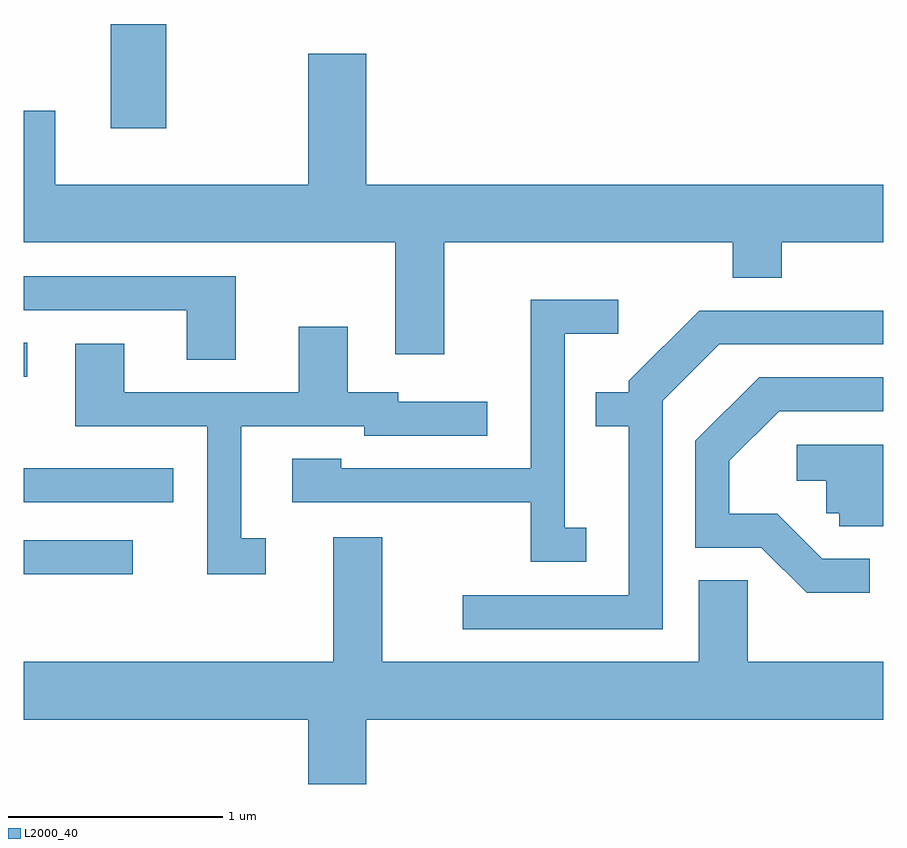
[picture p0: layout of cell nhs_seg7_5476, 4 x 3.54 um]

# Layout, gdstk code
import gdstk
lib = gdstk.Library(unit=1e-6, precision=1e-09)
def R(c, l, rs):  # rectangles x0, y0, x1, y1
    for r in rs: c.add(gdstk.rectangle(r[:2], r[2:], *l))
def P(c, l, *ps):  # polygons
    for p in ps: c.add(gdstk.Polygon(p, *l))
L2000_40 = (2000, 40)

nhs_seg7_5476 = lib.new_cell('nhs_seg7_5476')
R(nhs_seg7_5476, L2000_40, [(353.611,1681.691,354.118,1681.849), (353.611,1682.026,354.308,1682.184), (353.611,1682.611,353.628,1682.769), (354.016,1683.766,354.274,1684.252)])
P(nhs_seg7_5476, L2000_40, [(355.569,1683.236),(356.911,1683.236),(356.911,1683.071),(357.139,1683.071),(357.139,1683.236),(357.611,1683.236),(357.611,1683.504),(355.204,1683.504),(355.204,1684.114),(354.936,1684.114),(354.936,1683.504),(353.759,1683.504),(353.759,1683.849),(353.611,1683.849),(353.611,1683.236),(355.341,1683.236),(355.341,1682.716),(355.569,1682.716)],
  [(354.599,1683.079),(353.611,1683.079),(353.611,1682.921),(354.371,1682.921),(354.371,1682.691),(354.599,1682.691)],
  [(356.228,1681.909),(356.129,1681.909),(356.129,1682.811),(356.378,1682.811),(356.378,1682.969),(355.971,1682.969),(355.971,1682.184),(355.089,1682.184),(355.089,1682.229),(354.861,1682.229),(354.861,1682.026),(355.971,1682.026),(355.971,1681.751),(356.228,1681.751)],
  [(356.584,1682.499),(356.847,1682.761),(357.611,1682.761),(357.611,1682.919),(356.754,1682.919),(356.426,1682.592),(356.426,1682.539),(356.273,1682.539),(356.273,1682.381),(356.426,1682.381),(356.426,1681.594),(355.653,1681.594),(355.653,1681.436),(356.584,1681.436)],
  [(354.738,1681.859),(354.624,1681.859),(354.624,1682.381),(355.196,1682.381),(355.196,1682.336),(355.768,1682.336),(355.768,1682.494),(355.354,1682.494),(355.354,1682.539),(355.119,1682.539),(355.119,1682.844),(354.891,1682.844),(354.891,1682.539),(354.079,1682.539),(354.079,1682.764),(353.851,1682.764),(353.851,1682.381),(354.466,1682.381),(354.466,1681.691),(354.738,1681.691)],
  [(357.548,1681.764),(357.327,1681.764),(357.117,1681.974),(356.894,1681.974),(356.894,1682.219),(357.127,1682.451),(357.611,1682.451),(357.611,1682.609),(357.034,1682.609),(356.736,1682.312),(356.736,1681.816),(357.044,1681.816),(357.254,1681.606),(357.548,1681.606)],
  [(357.611,1682.294),(357.208,1682.294),(357.208,1682.126),(357.346,1682.126),(357.346,1681.976),(357.406,1681.976),(357.406,1681.916),(357.611,1681.916)],
  [(355.204,1681.016),(357.611,1681.016),(357.611,1681.284),(356.979,1681.284),(356.979,1681.664),(356.751,1681.664),(356.751,1681.284),(355.279,1681.284),(355.279,1681.864),(355.051,1681.864),(355.051,1681.284),(353.611,1681.284),(353.611,1681.016),(354.936,1681.016),(354.936,1680.716),(355.204,1680.716)])

lib.write_gds('nhs_seg7_5476.gds')
